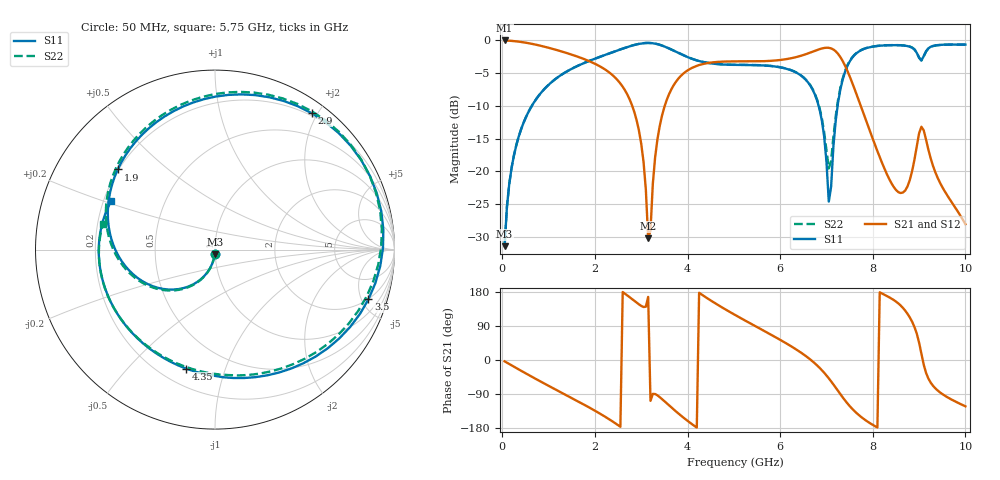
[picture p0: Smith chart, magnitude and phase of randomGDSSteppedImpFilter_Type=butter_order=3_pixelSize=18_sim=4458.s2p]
! freq	dB(S11)	phase(S11)	dB(S12)	phase(S12)
!  dB(S21)	phase(S21)	dB(S22)	phase(S22)
!S-par simulation data
#  GHz  S  DB  R 50
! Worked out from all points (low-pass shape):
!   200 points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, 50 MHz to 10 GHz, reference 50 ohm
!   highest |S21| = -0.01 dB at 50 MHz (marker M1); lowest = -30.3 dB at 3.15 GHz (marker M2)
!   |S21| within 3 dB of the highest: start of sweep to 1.821 GHz; 5.985 GHz to 7.338 GHz (1.354 GHz wide, 20.3 % of centre)
!   lowest |S11| = -31.5 dB at 50 MHz (marker M3), VSWR 1.05, Z = 49.8 - j2.66 ohm
!   |S11| at or under -10 dB: start of sweep to 638.7 MHz; 6.83 GHz to 7.241 GHz (410.9 MHz wide, 5.84 % of centre)
!   |S22| runs from -31.5 to -0.4 dB; largest |S21 - S12| = 0
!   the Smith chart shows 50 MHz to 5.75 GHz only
!   S11 on the Smith chart (normalised r, x): 50 MHz: 1.00, -0.05; 1.9 GHz: 0.20, +0.35; 2.9 GHz: 0.17, +1.93; 3.5 GHz: 1.97, -5.67; 4.35 GHz: 0.30, -0.74; 5.75 GHz: 0.23, +0.21
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0.05  -31.46 -93.6  -0.01 -3.6  -0.01 -3.6  -31.46 -93.5
0.2  -19.52 -104.6  -0.07 -14.1  -0.07 -14.1  -19.52 -104.3
0.5  -11.91 -125.8  -0.34 -34.8  -0.34 -34.8  -11.91 -124.9
1.1  -6.16 -166.3  -1.32 -74.6  -1.32 -74.6  -6.16 -164.2
1.75  -3.51 150.8  -2.81 -116.7  -2.81 -116.7  -3.50 154.2
1.9  -3.07 140.5  -3.24 -126.8  -3.24 -126.8  -3.07 144.2
2.9  -0.61 54.6  -12.19 151.5  -12.19 151.5  -0.61 60.5
3.15  -0.39 25.4  -30.26 166.5  -30.26 166.5  -0.38 31.7
3.4  -0.67 -5.7  -13.07 -98.0  -13.07 -98.0  -0.67 1.0
3.5  -0.93 -17.9  -10.18 -108.6  -10.18 -108.6  -0.92 -11.2
4.35  -3.32 -103.5  -3.58 169.0  -3.58 169.0  -3.31 -96.2
5.05  -3.75 -156.6  -3.20 117.3  -3.20 117.3  -3.73 -147.6
5.75  -3.89 155.1  -3.14 70.3  -3.14 70.3  -3.87 167.1
6.7  -7.50 81.2  -1.73 -3.6  -1.73 -3.6  -7.43 101.0
6.9  -12.23 62.5  -1.24 -26.7  -1.24 -26.7  -11.88 88.4
7.05  -24.64 89.5  -1.13 -48.2  -1.13 -48.2  -19.58 121.3
7.4  -4.83 144.5  -3.85 -106.5  -3.85 -106.5  -4.70 157.5
7.8  -1.33 95.1  -11.17 -155.1  -11.17 -155.1  -1.30 112.4
8.35  -0.74 51.4  -21.12 165.9  -21.12 165.9  -0.73 71.2
8.7  -0.81 28.5  -22.96 130.4  -22.96 130.4  -0.79 49.0
9.05  -3.06 15.7  -13.20 16.3  -13.20 16.3  -3.07 36.0
10  -0.65 -27.3  -28.11 -122.3  -28.11 -122.3  -0.63 -6.4
